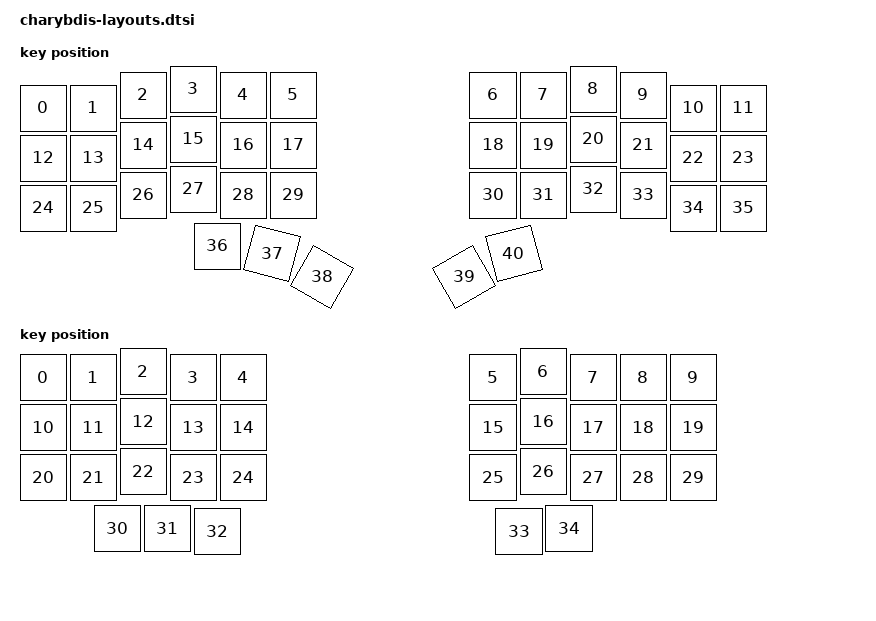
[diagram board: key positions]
#include <physical_layouts.dtsi>

/ {
    charybdis_physical_layout: charybdis_physical_layout {
        compatible = "zmk,physical-layout";
        display-name = "Charybdis 3x6";
        status = "okay";
        kscan = <&kscan0>;
        transform = <&default_transform>;

        keys
            // Left Half - Main Keys
            //                       w   h    x    y     rot    rx    ry
            = <&key_physical_attrs 100 100    0   38       0     0     0>
            , <&key_physical_attrs 100 100  100   38       0     0     0>
            , <&key_physical_attrs 100 100  200   12       0     0     0>
            , <&key_physical_attrs 100 100  300    0       0     0     0>
            , <&key_physical_attrs 100 100  400   12       0     0     0>
            , <&key_physical_attrs 100 100  500   12       0     0     0>
            , <&key_physical_attrs 100 100  900   12       0     0     0>
            , <&key_physical_attrs 100 100 1000   12       0     0     0>
            , <&key_physical_attrs 100 100 1100    0       0     0     0>
            , <&key_physical_attrs 100 100 1200   12       0     0     0>
            , <&key_physical_attrs 100 100 1300   38       0     0     0>
            , <&key_physical_attrs 100 100 1400   38       0     0     0>
            , <&key_physical_attrs 100 100    0  138       0     0     0>
            , <&key_physical_attrs 100 100  100  138       0     0     0>
            , <&key_physical_attrs 100 100  200  112       0     0     0>
            , <&key_physical_attrs 100 100  300  100       0     0     0>
            , <&key_physical_attrs 100 100  400  112       0     0     0>
            , <&key_physical_attrs 100 100  500  112       0     0     0>

            // Right Half - Main Keys
            //                       w   h    x    y     rot    rx    ry
            , <&key_physical_attrs 100 100  900  112       0     0     0>
            , <&key_physical_attrs 100 100 1000  112       0     0     0>
            , <&key_physical_attrs 100 100 1100  100       0     0     0>
            , <&key_physical_attrs 100 100 1200  112       0     0     0>
            , <&key_physical_attrs 100 100 1300  138       0     0     0>
            , <&key_physical_attrs 100 100 1400  138       0     0     0>
            , <&key_physical_attrs 100 100    0  238       0     0     0>
            , <&key_physical_attrs 100 100  100  238       0     0     0>
            , <&key_physical_attrs 100 100  200  212       0     0     0>
            , <&key_physical_attrs 100 100  300  200       0     0     0>
            , <&key_physical_attrs 100 100  400  212       0     0     0>
            , <&key_physical_attrs 100 100  500  212       0     0     0>
            , <&key_physical_attrs 100 100  900  212       0     0     0>
            , <&key_physical_attrs 100 100 1000  212       0     0     0>
            , <&key_physical_attrs 100 100 1100  200       0     0     0>
            , <&key_physical_attrs 100 100 1200  212       0     0     0>
            , <&key_physical_attrs 100 100 1300  238       0     0     0>
            , <&key_physical_attrs 100 100 1400  238       0     0     0>

            // Thumb Clusters
            //                       w   h    x    y     rot    rx    ry
            , <&key_physical_attrs 100 100  348  314       0     0     0>
            , <&key_physical_attrs 100 100  348  314    1500   398   790>
            , <&key_physical_attrs 100 100  348  320    3000   398   790>
            , <&key_physical_attrs 100 100 1052  320 (-3000)  1102   790>
            , <&key_physical_attrs 100 100 1052  314 (-1500)  1102   790>
            ;
    };

    vendor_3x5_physical_layout: vendor_3x5_physical_layout {
        compatible = "zmk,physical-layout";
        display-name = "Vendor 3x5";
        status = "okay";
        kscan = <&kscan0>;
        transform = <&vendor_3x5_transform>;

        keys
            // Left Half - Main Keys (3x5)
            //                       w   h    x    y     rot    rx    ry
            = <&key_physical_attrs 100 100  100   12       0     0     0>   // Q
            , <&key_physical_attrs 100 100  200   12       0     0     0>   // W
            , <&key_physical_attrs 100 100  300    0       0     0     0>   // E
            , <&key_physical_attrs 100 100  400   12       0     0     0>   // R
            , <&key_physical_attrs 100 100  500   12       0     0     0>   // T
            , <&key_physical_attrs 100 100 1000   12       0     0     0>   // Y
            , <&key_physical_attrs 100 100 1100    0       0     0     0>   // U
            , <&key_physical_attrs 100 100 1200   12       0     0     0>   // I
            , <&key_physical_attrs 100 100 1300   12       0     0     0>   // O
            , <&key_physical_attrs 100 100 1400   12       0     0     0>   // P
            , <&key_physical_attrs 100 100  100  112       0     0     0>   // A
            , <&key_physical_attrs 100 100  200  112       0     0     0>   // S
            , <&key_physical_attrs 100 100  300  100       0     0     0>   // D
            , <&key_physical_attrs 100 100  400  112       0     0     0>   // F
            , <&key_physical_attrs 100 100  500  112       0     0     0>   // G
            , <&key_physical_attrs 100 100 1000  112       0     0     0>   // H
            , <&key_physical_attrs 100 100 1100  100       0     0     0>   // J
            , <&key_physical_attrs 100 100 1200  112       0     0     0>   // K
            , <&key_physical_attrs 100 100 1300  112       0     0     0>   // L
            , <&key_physical_attrs 100 100 1400  112       0     0     0>   // '
            , <&key_physical_attrs 100 100  100  212       0     0     0>   // Z
            , <&key_physical_attrs 100 100  200  212       0     0     0>   // X
            , <&key_physical_attrs 100 100  300  200       0     0     0>   // C
            , <&key_physical_attrs 100 100  400  212       0     0     0>   // V
            , <&key_physical_attrs 100 100  500  212       0     0     0>   // B
            , <&key_physical_attrs 100 100 1000  212       0     0     0>   // N
            , <&key_physical_attrs 100 100 1100  200       0     0     0>   // M
            , <&key_physical_attrs 100 100 1200  212       0     0     0>   // ,
            , <&key_physical_attrs 100 100 1300  212       0     0     0>   // .
            , <&key_physical_attrs 100 100 1400  212       0     0     0>   // /

            // Thumb Clusters (3 left, 2 right)
            //                       w   h    x    y     rot    rx    ry
            , <&key_physical_attrs 100 100  248  314       0     0     0>   // ESC (left thumb 1)
            , <&key_physical_attrs 100 100  348  314       0     0     0>   // SPC (left thumb 2)
            , <&key_physical_attrs 100 100  448  320       0     0     0>   // TAB (left thumb 3)
            , <&key_physical_attrs 100 100 1052  320       0     0     0>   // ENT (right thumb 1)
            , <&key_physical_attrs 100 100 1152  314       0     0     0>   // BSP (right thumb 2)
            ;
    };
};
